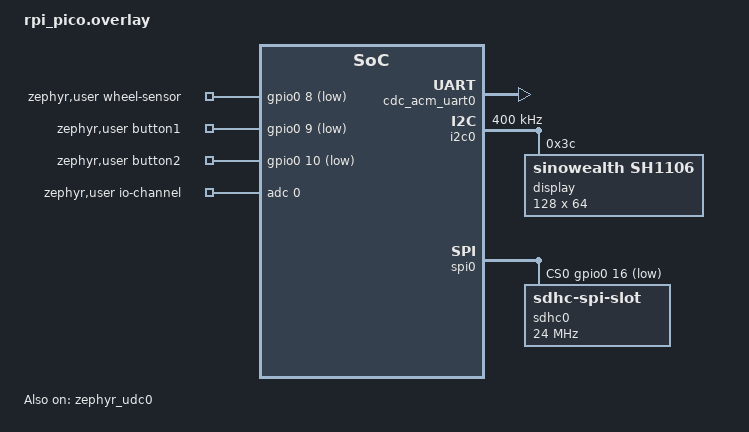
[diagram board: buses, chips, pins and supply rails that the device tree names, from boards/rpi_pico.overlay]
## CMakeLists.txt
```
cmake_minimum_required(VERSION 3.20.0)

find_package(Zephyr REQUIRED HINTS $ENV{ZEPHYR_BASE})
project(wheel_sensor)

# Include directories
target_include_directories(app PRIVATE include src)

# Main application and module sources
target_sources(app PRIVATE
    src/main.c
    src/app.c
    src/wheel_sensor.c
    src/button.c
    src/speed_calculator.c
    src/display_output.c
    src/console_output.c
    src/storage.c
)

# Battery monitoring (optional)
if(CONFIG_BATTERY_ENABLED)
    target_sources(app PRIVATE src/battery.c)
endif()

# Simulation shell (optional)
if(CONFIG_APP_SIMULATION)
    target_sources(app PRIVATE src/sim_shell.c)
endif()
```

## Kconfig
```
menu "Application Configuration"

config DISPLAY_ENABLED
	bool "Enable OLED display support (SH1106)"
	default y
	imply I2C
	imply DISPLAY
	imply SSD1306
	imply CHARACTER_FRAMEBUFFER
	help
		Enable support for SH1106 OLED display over I2C.
		When enabled, the display driver and related functionality are included.
		When disabled, all display-related code is excluded.

config SD_CARD_ENABLED
	bool "Enable SD card storage via SPI"
	default y
	imply SPI
	imply SDHC
	imply SDMMC_STACK
	imply DISK_ACCESS
	imply FILE_SYSTEM
	imply FAT_FILESYSTEM_ELM
	help
		Enable support for SD card storage over SPI.
		When enabled, the SD card driver and filesystem support are included.
		When disabled, all SD card-related code and dependencies are excluded.

config BATTERY_ENABLED
	bool "Enable battery monitoring via ADC"
	default n
	select ADC
	help
		Enable support for battery voltage monitoring via ADC.
		When enabled, the ADC driver and battery monitoring functionality are included.
		When disabled, all battery-related code and dependencies are excluded.

config APP_SIMULATION
    bool "Enable shell commands to drive simulated peripherals"
    depends on GPIO_EMUL || ADC_EMUL
    help
      Adds 'sim' shell commands to manually toggle the reed switch,
      simulate a button press, and set a fake battery voltage while
      running the app on native_sim.

endmenu

source "Kconfig.zephyr"
```

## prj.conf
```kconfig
# GPIO is required to read the reed switch / Hall sensor
CONFIG_GPIO=y

# Battery monitoring via ADC (enabled by default via Kconfig)
# ADC is implied by BATTERY_ENABLED

# Console output so we can see revolution/speed data over USB-UART
CONFIG_PRINTK=y
CONFIG_CONSOLE=y
# CONFIG_SERIAL=y

# USB CDC-ACM for console over USB
CONFIG_USB_DEVICE_STACK_NEXT=y
CONFIG_USBD_CDC_ACM_CLASS=y
CONFIG_CDC_ACM_SERIAL_INITIALIZE_AT_BOOT=y

# SPI for SD card (enabled by SD_CARD_ENABLED config)
CONFIG_EMUL=y
CONFIG_HEAP_MEM_POOL_SIZE=256

# Settings subsystem for persistent storage
CONFIG_SETTINGS=y
CONFIG_SETTINGS_RUNTIME=y
CONFIG_FLASH=y
CONFIG_FLASH_MAP=y
CONFIG_NVS=y

# Logging configuration
CONFIG_LOG=y

CONFIG_DISPLAY=y
CONFIG_I2C=y
CONFIG_SSD1306=y
```

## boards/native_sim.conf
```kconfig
CONFIG_GPIO=y
CONFIG_GPIO_EMUL=y
CONFIG_ADC_EMUL=y

# ADC is selected by CONFIG_BATTERY_ENABLED (default y)

CONFIG_CONSOLE=y
CONFIG_SHELL=y
CONFIG_SHELL_BACKEND_SERIAL=y

# Disable display support for native_sim
CONFIG_DISPLAY_ENABLED=n
CONFIG_DISPLAY=n

CONFIG_APP_SIMULATION=y
```

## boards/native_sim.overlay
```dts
/*
 * Simulation overlay mapping to the same paths as rpi_pico.overlay
 * Uses zephyr,user node with the same property names
 */
/ {
	zephyr,user {
		/* Wheel sensor - maps to reed0 in sim_inputs */
		wheel-sensor-gpios = <&gpio0 1 (GPIO_ACTIVE_LOW)>;
		/* Buttons - map to button0 in sim_inputs */
		button1-gpios = <&gpio0 0 (GPIO_ACTIVE_LOW)>;
		button2-gpios = <&gpio0 2 (GPIO_ACTIVE_LOW)>;
		/* Battery ADC channel - maps to channel@0 in adc0 */
		io-channels = <&adc0 0>;
	};
};

/* native_sim.dts already provides gpio0 as a gpio_emul controller
   and usually an adc0 as zephyr,adc-emul — check your Zephyr version's
   boards/native/native_sim/native_sim.dts. If adc0 isn't already there,
   add it yourself here instead of just configuring the channel below. */
&adc0 {
	#address-cells = <1>;
	#size-cells = <0>;

	channel@0 {
		reg = <0>;
		zephyr,gain = "ADC_GAIN_1";
		zephyr,reference = "ADC_REF_INTERNAL";
		zephyr,vref-mv = <3300>;
		zephyr,resolution = <12>;
		zephyr,acquisition-time = <ADC_ACQ_TIME_DEFAULT>;
	};
};
```

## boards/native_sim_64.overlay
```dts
/*
 * native_sim 64-bit variant overlay.
 * Keep the native simulator free of display emulation and provide the
 * same user-facing GPIO and ADC nodes the application expects.
 */
/ {
	zephyr,user {
		/* Wheel sensor - maps to reed0 in sim_inputs */
		wheel-sensor-gpios = <&gpio0 1 (GPIO_ACTIVE_LOW)>;
		/* Buttons - map to button0 in sim_inputs */
		button1-gpios = <&gpio0 0 (GPIO_ACTIVE_LOW)>;
		button2-gpios = <&gpio0 2 (GPIO_ACTIVE_LOW)>;
		/* Battery ADC channel - maps to channel@0 in adc0 */
		io-channels = <&adc0 0>;
	};

	chosen {
		/delete-property/ zephyr,display;
	};
};

&sdl_dc {
	status = "disabled";
};

&spi0 {
	sdhc0: sdhc@0 {
		compatible = "zephyr,sdhc-spi-slot";
		reg = <0>;
		status = "okay";
		spi-max-frequency = <24000000>;

		mmc {
			compatible = "zephyr,sdmmc-disk";
			disk-name = "SD";
			status = "okay";
		};
	};
};

&adc0 {
	#address-cells = <1>;
	#size-cells = <0>;

	channel@0 {
		reg = <0>;
		zephyr,gain = "ADC_GAIN_1";
		zephyr,reference = "ADC_REF_INTERNAL";
		zephyr,vref-mv = <3300>;
		zephyr,resolution = <12>;
		zephyr,acquisition-time = <ADC_ACQ_TIME_DEFAULT>;
	};
};
```

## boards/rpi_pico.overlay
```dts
/*
 * Wire the reed switch / Hall sensor to GPIO pin 16.
 * One leg of the switch/sensor goes to this pin, the other to GND.
 * GPIO_PULL_UP keeps the line high when open; the switch/sensor pulls
 * it low (ACTIVE_LOW) when the magnet passes.
 *
 * Change the pin number below to match your wiring if needed.
 */
/ {
	zephyr,user {
		wheel-sensor-gpios = <&gpio0 8 (GPIO_ACTIVE_LOW | GPIO_PULL_UP)>;
		button1-gpios = <&gpio0 9 (GPIO_ACTIVE_LOW | GPIO_PULL_UP)>;
		button2-gpios = <&gpio0 10 (GPIO_ACTIVE_LOW | GPIO_PULL_UP)>;
		/* Battery voltage monitoring via ADC0 (GPIO26) */
		io-channels = <&adc 0>;
	};

	chosen {
		zephyr,display = &display;
		zephyr,console = &cdc_acm_uart0;
	};
};

&zephyr_udc0 {
	status = "okay";

	cdc_acm_uart0: cdc_acm_uart0 {
		compatible = "zephyr,cdc-acm-uart";
		status = "okay";
	};
};

&uart0 {
	status = "disabled";
};

/* Enable I2C for SH1106 display */
&i2c0 {
	status = "okay";
	clock-frequency = <400000>;

	display: sh1106@3c {
		compatible = "sinowealth,sh1106";
		reg = <0x3c>;
		width = <128>;
		height = <64>;
		segment-offset = <0>;
		page-offset = <0>;
		display-offset = <0>;
		multiplex-ratio = <63>;
		segment-remap;
		com-invdir;
		prechargep = <0x22>;
		status = "okay";
	};
};

/* Add storage partition for NVS settings to existing flash0 partitions */
&flash0 {
	partitions {
		compatible = "fixed-partitions";
		#address-cells = <1>;
		#size-cells = <1>;

		/* Storage partition for NVS settings - 16KB at 128KB offset from flash start */
		storage_partition: partition@20000 {
			label = "storage";
			reg = <0x00020000 0x00004000>;
		};
	};
};

&spi0 {
	status = "okay";
	cs-gpios = <&gpio0 16 GPIO_ACTIVE_LOW>;

	sdhc0: sdhc@0 {
		compatible = "zephyr,sdhc-spi-slot";
		reg = <0>;
		status = "okay";

		mmc {
			compatible = "zephyr,sdmmc-disk";
			disk-name = "SD";
			status = "okay";
		};

		spi-max-frequency = <24000000>;
	};
};
```

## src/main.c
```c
/*
 * main.c - Application entry point
 *
 * Simply calls the modular application implementation.
 *
 * @implements REQ-SW-001
 */

#include <app.h>

/**
 * @brief Application main entry point
 * @implements REQ-SW-001
 * @return Application exit code
 */
int main(void)
{
	return app_run();
}
```

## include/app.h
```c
/*
 * app.h - Main application header for wheel sensor speedometer
 *
 * Defines shared data structures, constants, and constants.
 * All modules should include this header for common types.
 *
 * Module-specific interfaces are in their respective header files:
 * - wheel_sensor.h
 * - button.h
 * - battery.h
 * - speed_calculator.h
 * - display_output.h
 * - console_output.h
 * - storage.h
 */

#ifndef APP_H
#define APP_H

#include <zephyr/kernel.h>
#include <zephyr/sys/atomic.h>
#include <stdbool.h>
#include <stdint.h>

/* =========================================================================
 * CONSTANTS
 * ========================================================================= */

/* Wheel configuration limits */
#define MIN_WHEEL_DIAMETER_CM    10
#define MAX_WHEEL_DIAMETER_CM    100
#define DEFAULT_WHEEL_DIAMETER_CM 66

/* Timing constants */
#define DEBOUNCE_MS              50
#define REPORT_INTERVAL_MS       1000
#define MODE_SWITCH_DELAY_MS     500
#define BATTERY_SAMPLE_INTERVAL_S 60

/* Battery monitoring constants */
#define BATTERY_MIN_V            2.0f   /* Voltage at 0% (2x AA depleted) */
#define BATTERY_MAX_V            3.0f   /* Voltage at 100% (2x AA fresh) */
#define VOLTAGE_DIVIDER_RATIO    (3.0f / 2.0f)  /* V_battery = V_adc * (R1+R2)/R2 */

/* Buffer sizes */
#define LOG_BUFFER_SIZE          256
#define DISPLAY_LINE_SIZE        32

/* =========================================================================
 * DATA STRUCTURES
 * ========================================================================= */

/* Wheel sensor state - shared between ISR and main thread */
struct wheel_sensor_state {
	atomic_t revolution_count;
	volatile int64_t last_trigger_ms;
};

/* Button state - shared between ISR and main thread */
struct button_state {
	volatile int64_t last_press_ms[2];
	volatile bool in_settings_mode;
	volatile bool save_wheel_diameter_pending;
	int64_t previous_press_time[2];
	/* Flags for deferred printing (set in ISR, cleared in main thread) */
	volatile bool settings_mode_changed;
	volatile bool diameter_changed;
	int diameter_value;
};

/* Wheel configuration */
struct wheel_config {
	int diameter_cm;
};

/* Battery state */
struct battery_state {
	int percentage;
	bool valid;
};

/* Runtime tracking state (main thread only) */
struct runtime_state {
	uint32_t last_count;
	uint32_t total_distance_m;
	float last_speed_kmh;
};

/* =========================================================================
 * INLINE ACCESSORS
 * ========================================================================= */

/**
 * @brief Check if in settings mode
 * @param button_state Pointer to button state structure
 * @return true if in settings mode
 */
static inline bool button_in_settings_mode(const struct button_state *button_state)
{
	return button_state->in_settings_mode;
}

/**
 * @brief Check if wheel diameter needs saving
 * @param button_state Pointer to button state structure
 * @return true if pending save
 */
static inline bool button_save_pending(const struct button_state *button_state)
{
	return button_state->save_wheel_diameter_pending;
}

/**
 * @brief Clear save pending flag
 * @param button_state Pointer to button state structure
 */
static inline void button_clear_save_pending(struct button_state *button_state)
{
	button_state->save_wheel_diameter_pending = false;
}

/**
 * @brief Application entry point
 */
int app_run(void);

#endif /* APP_H */
```

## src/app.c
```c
/*
 * app.c - Main application with modular architecture
 *
 * Coordinates all modules to implement the wheel sensor speedometer.
 *
 * @implements REQ-SW-001, REQ-SW-002, REQ-SW-003, REQ-SW-004, REQ-SW-005,
 * REQ-SW-006, REQ-SW-007, REQ-SW-008
 */

#include <app.h>
#include <button.h>
#include <console_output.h>
#include <display_output.h>
#include <speed_calculator.h>
#include <storage.h>
#include <wheel_sensor.h>

#ifdef CONFIG_BATTERY_ENABLED
#include <battery.h>
#endif

#include <zephyr/kernel.h>
#include <zephyr/logging/log.h>
#include <zephyr/sys/printk.h>
#include <zephyr/sys/util.h>

LOG_MODULE_REGISTER(app);

/* Global state instances */
static struct wheel_sensor_state wheel_sensor_state = {
    .revolution_count = ATOMIC_INIT(0),
    .last_trigger_ms = 0,
};

static struct button_state button_state = {
    .last_press_ms = {0, 0},
    .in_settings_mode = false,
    .save_wheel_diameter_pending = false,
    .previous_press_time = {0, 0},
    .settings_mode_changed = false,
    .diameter_changed = false,
    .diameter_value = DEFAULT_WHEEL_DIAMETER_CM,
};

static struct wheel_config wheel_config = {
    .diameter_cm = DEFAULT_WHEEL_DIAMETER_CM,
};

static struct runtime_state runtime_state = {
    .last_count = 0U,
    .total_distance_m = 0U,
    .last_speed_kmh = 0.0f,
};

#ifdef CONFIG_BATTERY_ENABLED
static struct battery_state battery_state = {
    .percentage = -1,

    .valid = false,
};
#endif

static void app_state_work_handler(struct k_work *work);

K_WORK_DEFINE(app_state_work, app_state_work_handler);

/**
 * @brief Work handler for deferred state updates
 * @implements REQ-SW-003, REQ-SW-601
 * @param work Work item (unused)
 */
static void app_state_work_handler(struct k_work *work) {
  ARG_UNUSED(work);

  if (button_save_pending(&button_state)) {
    button_clear_save_pending(&button_state);
    storage_save_wheel_diameter(&wheel_config);
  }

  if (display_is_available()) {
#ifdef CONFIG_BATTERY_ENABLED
    display_render(&button_state, &wheel_config, &runtime_state,
                   &battery_state);
#else
    display_render(&button_state, &wheel_config, &runtime_state, NULL);
#endif
  }
}

/**
 * @brief Queue deferred state update
 * @implements REQ-SW-601
 */
static void queue_app_state_update(void) { k_work_submit(&app_state_work); }

/**
 * @brief Main application entry point
 * @implements REQ-SW-001, REQ-SW-002, REQ-SW-003, REQ-SW-004, REQ-SW-005,
 * REQ-SW-006, REQ-SW-007, REQ-SW-008
 * @return Application exit code
 */
int app_run(void) {
  int ret;

  /* Initialize storage/NVS first so settings can be loaded */
  ret = storage_init(&wheel_config);
  if (ret < 0) {
    LOG_ERR("Storage initialization failed: %d", -ret);
    return ret;
  }

  console_print_init(wheel_config.diameter_cm);

  /* Initialize display */
  ret = display_init();
  if (ret < 0) {
    LOG_WRN("Display initialization failed: %d, continuing without display",
            -ret);
  } else {
    queue_app_state_update();
  }

  /* Initialize SD card for logging */
  ret = storage_sd_init();
  if (ret < 0) {
    LOG_WRN("SD card initialization failed: %d, continuing without SD card",
            -ret);
  } else {
    ret = storage_log_open();
    if (ret < 0) {
      LOG_WRN("Failed to open log file: %d, continuing without SD card logging",
              -ret);
    } else {
      LOG_INF("SD card logging initialized");
    }
  }

#ifdef CONFIG_BATTERY_ENABLED
  /* Initialize battery monitoring */
  ret = battery_init();
  if (ret < 0) {
    LOG_ERR("Battery initialization failed: %d", -ret);
    return ret;
  }
#endif

  /* Initialize wheel sensor */
  ret = wheel_sensor_init(&wheel_sensor_state);
  if (ret < 0) {
    LOG_ERR("Wheel sensor initialization failed: %d", -ret);
    return ret;
  }

  /* Initialize buttons and wheel config */
  ret = button_init(&button_state, &wheel_config);
  if (ret < 0) {
    LOG_WRN("Button initialization failed: %d, continuing without buttons",
            -ret);
  }

  LOG_INF("Ready to spin!");

#ifdef CONFIG_BATTERY_ENABLED
  uint32_t battery_sample_counter = 0;
#endif

  while (1) {
    k_msleep(REPORT_INTERVAL_MS);

#ifdef CONFIG_BATTERY_ENABLED
    /* Sample battery voltage periodically */
    battery_sample_counter++;
    if (battery_sample_counter >= BATTERY_SAMPLE_INTERVAL_S) {
      int battery_ret = battery_read(&battery_state);
      if (battery_ret < 0) {
        LOG_ERR("Battery read failed: %d", battery_ret);
      } else {
        console_print_battery(battery_state.percentage);
      }
      battery_sample_counter = 0;
    }
#endif

    /* Handle deferred button press messages (from ISR) */
    if (button_state.settings_mode_changed) {
      button_state.settings_mode_changed = false;
      if (button_state.in_settings_mode) {
        LOG_INF("Entering settings mode. Current diameter: %d cm",
                button_state.diameter_value);
      } else {
        LOG_INF("Exiting settings mode. Wheel diameter set to: %d cm",
                button_state.diameter_value);
      }
    }
    if (button_state.diameter_changed) {
      button_state.diameter_changed = false;
      LOG_INF("Wheel diameter: %d cm", button_state.diameter_value);
    }

    /* If in settings mode, skip speed calculation but still update display */
    if (button_in_settings_mode(&button_state)) {
      queue_app_state_update();
      continue;
    }

    /* Get current revolution count */
    uint32_t current_count = wheel_sensor_get_count(&wheel_sensor_state);

    /* Calculate speed and distance */
    speed_calculator_update(current_count, runtime_state.last_count,
                            wheel_config.diameter_cm, REPORT_INTERVAL_MS,
                            &runtime_state.total_distance_m,
                            &runtime_state.last_speed_kmh);
    runtime_state.last_count = current_count;

    /* Print status to console */
    console_print_status(current_count, runtime_state.last_speed_kmh,
                         runtime_state.total_distance_m,
                         wheel_config.diameter_cm);

    /* Log to SD card if available */
    if (storage_log_available()) {
      char log_msg[LOG_BUFFER_SIZE];
      snprintk(
          log_msg, sizeof(log_msg),
          "[%lld] revs=%u, speed=%.1f km/h, distance=%u m, diameter=%d cm\n",
          k_uptime_get(), current_count, (double)runtime_state.last_speed_kmh,
          runtime_state.total_distance_m, wheel_config.diameter_cm);
      storage_log_write(log_msg);
    }

    queue_app_state_update();
  }

  return 0;
}
```

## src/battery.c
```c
/*
 * battery.c - Battery monitoring module
 *
 * Handles ADC-based battery voltage monitoring and percentage calculation.
 *
 * @implements REQ-HW-040, REQ-HW-041, REQ-HW-042, REQ-SW-401, REQ-SW-402, REQ-SW-403, REQ-SW-404, REQ-SW-405, REQ-SW-406, REQ-SW-407, REQ-SW-408, REQ-SW-409, REQ-SW-410
 * @tests tests/battery/src/test_battery.c
 */

#include <battery.h>
#include <zephyr/kernel.h>
#include <zephyr/drivers/adc.h>
#include <zephyr/logging/log.h>

LOG_MODULE_REGISTER(battery);

/* Devicetree configuration */
#define USER_NODE DT_PATH(zephyr_user)
static const struct adc_dt_spec battery_adc =
	ADC_DT_SPEC_GET_BY_IDX(USER_NODE, 0);

/**
 * @brief Initialize battery ADC
 * @implements REQ-SW-401
 * @return 0 on success, negative errno on failure
 */
int battery_init(void)
{
	if (!device_is_ready(battery_adc.dev)) {
		return -ENODEV;
	}
	return 0;
}

/**
 * @brief Read battery voltage and update state
 *
 * Battery must be already initialized via a successful call to
 * battery_init() prior to calling this function.
 *
 * @implements REQ-SW-401, REQ-SW-402, REQ-SW-410
 * @param battery_state Pointer to battery state structure to update
 * @return 0 on success, negative errno on failure
 */
int battery_read(struct battery_state *battery_state)
{
	int16_t adc_value;
	struct adc_sequence sequence = {
		.channels = BIT(battery_adc.channel_id),
		.buffer = &adc_value,
		.buffer_size = sizeof(adc_value),
		.resolution = 12,
	};

	int ret = adc_read(battery_adc.dev, &sequence);
	if (ret < 0) {
		LOG_ERR("Battery ADC read error: %d", ret);
		return ret;
	}

	float battery_voltage = battery_adc_to_voltage(adc_value);
	int percentage = battery_voltage_to_percentage(battery_voltage);

	battery_state->percentage = percentage;
	battery_state->valid = true;

	return 0;
}

/**
 * @brief Convert ADC value to battery voltage
 * @implements REQ-SW-403, REQ-SW-404, REQ-SW-405
 * @param adc_value Raw ADC value (12-bit)
 * @return Battery voltage in volts
 */
float battery_adc_to_voltage(int16_t adc_value)
{
	/* Convert ADC value to voltage (12-bit ADC, 3.3V reference)
	 * NOTE: The 3.3V reference is hardcoded. The actual RP2040 ADC reference
	 * can vary by +/- 1-2% which will cause a systematic offset in battery
	 * voltage readings. For more accurate readings, consider reading the
	 * actual Vref from ADC calibration data. */
	float adc_voltage = (adc_value * 3.3f) / 4095.0f;

	/* Apply voltage divider ratio: V_battery = V_adc * (R1+R2)/R2 */
	return adc_voltage * VOLTAGE_DIVIDER_RATIO;
}

/**
 * @brief Convert battery voltage to percentage
 * @implements REQ-SW-406, REQ-SW-407, REQ-SW-408, REQ-SW-409
 * @param voltage Battery voltage in volts
 * @return Percentage (0-100)
 */
int battery_voltage_to_percentage(float voltage)
{
	/* Linear approximation for alkaline 2xAA */
	int percentage = (int)((voltage - BATTERY_MIN_V) /
			(BATTERY_MAX_V - BATTERY_MIN_V) * 100.0f);
	return CLAMP(percentage, 0, 100);
}
```

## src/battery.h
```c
/*
 * battery.h - Battery monitoring module interface
 *
 * Handles ADC-based battery voltage monitoring and percentage calculation.
 */

#ifndef BATTERY_H
#define BATTERY_H

#include "app.h"
#include <zephyr/device.h>
#include <zephyr/devicetree.h>
#include <zephyr/drivers/adc.h>
#include <stdbool.h>

/**
 * @brief Initialize battery ADC
 * @return 0 on success, negative errno on failure
 */
__must_check int battery_init(void);

/**
 * @brief Read battery voltage and update state
 * @param battery_state Pointer to battery state structure to update
 * @return 0 on success, negative errno on failure
 */
__must_check int battery_read(struct battery_state *battery_state);

/**
 * @brief Convert ADC value to battery voltage
 * @param adc_value Raw ADC value (12-bit)
 * @return Battery voltage in volts
 */
float battery_adc_to_voltage(int16_t adc_value);

/**
 * @brief Convert battery voltage to percentage
 * @param voltage Battery voltage in volts
 * @return Percentage (0-100)
 */
int battery_voltage_to_percentage(float voltage);

#endif /* BATTERY_H */
```

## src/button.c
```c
/*
 * button.c - Button input module
 *
 * Handles button input with debouncing and settings mode management.
 * Button 1: Double-press toggles settings mode, single press increments diameter
 * Button 2: Single press decrements diameter in settings mode
 *
 * @implements REQ-HW-020, REQ-HW-021, REQ-HW-022, REQ-HW-023, REQ-SW-301,
 *             REQ-SW-302, REQ-SW-303, REQ-SW-304, REQ-SW-305, REQ-SW-306,
 *             REQ-SW-307, REQ-SW-308, REQ-SW-309, REQ-SW-310, REQ-SW-311
 */

#include <button.h>
#include <app.h>
#include <zephyr/kernel.h>
#include <zephyr/drivers/gpio.h>
#include <zephyr/sys/printk.h>
#include <zephyr/sys/util.h>
#include <zephyr/sys/check.h>

/* Devicetree configuration */
#define USER_NODE DT_PATH(zephyr_user)
static const struct gpio_dt_spec button1 =
	GPIO_DT_SPEC_GET(USER_NODE, button1_gpios);
static const struct gpio_dt_spec button2 =
	GPIO_DT_SPEC_GET(USER_NODE, button2_gpios);

static struct button_state *button_state_ptr = NULL;
static struct wheel_config *wheel_config_ptr = NULL;

/* Button callback data structure with user data */
struct button_cb_data {
	struct gpio_callback callback;
	int button_idx;
};
static struct button_cb_data button_cb_data[2];

/* Internal processing function */
/**
 * @brief Internal processing function for button presses
 * @implements REQ-SW-301, REQ-SW-302, REQ-SW-303, REQ-SW-304, REQ-SW-305, REQ-SW-306, REQ-SW-307, REQ-SW-308, REQ-SW-309, REQ-SW-310, REQ-SW-311
 * @param button_idx Button index (0 for button1, 1 for button2)
 */
static void process_button_press(int button_idx)
{
	/* Use __ASSERT_NO_MSG for NULL checks in ISR context */
	__ASSERT_NO_MSG(button_state_ptr != NULL);
	__ASSERT_NO_MSG(wheel_config_ptr != NULL);

	int64_t now = k_uptime_get();

	/* Debounce check */
	if ((now - button_state_ptr->last_press_ms[button_idx]) < DEBOUNCE_MS) {
		return;
	}
	button_state_ptr->last_press_ms[button_idx] = now;

	if (button_idx == 0) {
		/* Button 1: double press toggles settings mode; single press increments diameter */
		if ((now - button_state_ptr->previous_press_time[button_idx]) < MODE_SWITCH_DELAY_MS) {
			button_state_ptr->in_settings_mode = !button_state_ptr->in_settings_mode;
			button_state_ptr->settings_mode_changed = true;
			button_state_ptr->diameter_value = wheel_config_ptr->diameter_cm;
			if (!button_state_ptr->in_settings_mode) {
				button_state_ptr->save_wheel_diameter_pending = true;
			}
		} else {
			if (button_state_ptr->in_settings_mode) {
				wheel_config_ptr->diameter_cm =
					MIN(wheel_config_ptr->diameter_cm + 1, MAX_WHEEL_DIAMETER_CM);
				button_state_ptr->diameter_changed = true;
				button_state_ptr->diameter_value = wheel_config_ptr->diameter_cm;
			}
		}
		button_state_ptr->previous_press_time[button_idx] = now;
	} else {
		/* Button 2: single press decrements diameter in settings mode */
		if (button_state_ptr->in_settings_mode) {
			wheel_config_ptr->diameter_cm =
				MAX(wheel_config_ptr->diameter_cm - 1, MIN_WHEEL_DIAMETER_CM);
			button_state_ptr->diameter_changed = true;
			button_state_ptr->diameter_value = wheel_config_ptr->diameter_cm;
		}
	}
}

/**
 * @brief Unified callback for all buttons
 * @implements REQ-SW-301, REQ-SW-302
 * @param dev Device pointer (unused)
 * @param cb Callback pointer
 * @param pins Triggered pins (unused)
 */
/* Unified callback for all buttons */
static void button_pressed(const struct device *dev, struct gpio_callback *cb, uint32_t pins)
{
	ARG_UNUSED(dev);
	ARG_UNUSED(pins);
	struct button_cb_data *data = CONTAINER_OF(cb, struct button_cb_data, callback);
	process_button_press(data->button_idx);
}

/**
 * @brief Initialize button GPIOs and interrupts
 * @implements REQ-SW-301, REQ-SW-302, REQ-SW-303
 * @param button_state Pointer to button state structure
 * @param wheel_config Wheel configuration structure
 * @return 0 on success, negative errno on failure
 */
int button_init(struct button_state *button_state, struct wheel_config *wheel_config)
{
	int ret;

	button_state_ptr = button_state;

	/* Initialize button state */
	button_state->last_press_ms[0] = 0;
	button_state->last_press_ms[1] = 0;
	button_state->in_settings_mode = false;
	button_state->save_wheel_diameter_pending = false;
	button_state->previous_press_time[0] = 0;
	button_state->previous_press_time[1] = 0;

	/* Initialize wheen config before adding callbacks */
	wheel_config_ptr = wheel_config;

	if (!device_is_ready(button1.port) || !device_is_ready(button2.port)) {
		return -ENODEV;
	}

	/* Configure button 1 */
	ret = gpio_pin_configure_dt(&button1, GPIO_INPUT);
	if (ret != 0) {
		return ret;
	}

	ret = gpio_pin_interrupt_configure_dt(&button1, GPIO_INT_EDGE_TO_ACTIVE);
	if (ret != 0) {
		return ret;
	}

	button_cb_data[0].button_idx = 0;
	gpio_init_callback(&button_cb_data[0].callback, button_pressed, BIT(button1.pin));
	gpio_add_callback(button1.port, &button_cb_data[0].callback);

	/* Configure button 2 */
	ret = gpio_pin_configure_dt(&button2, GPIO_INPUT);
	if (ret != 0) {
		return ret;
	}

	ret = gpio_pin_interrupt_configure_dt(&button2, GPIO_INT_EDGE_TO_ACTIVE);
	if (ret != 0) {
		return ret;
	}

	button_cb_data[1].button_idx = 1;
	gpio_init_callback(&button_cb_data[1].callback, button_pressed, BIT(button2.pin));
	gpio_add_callback(button2.port, &button_cb_data[1].callback);

	return 0;
}
```

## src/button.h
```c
/*
 * button.h - Button input module interface
 *
 * Handles button input with debouncing and settings mode management.
 */

#ifndef BUTTON_H
#define BUTTON_H

#include <app.h>
#include <zephyr/device.h>
#include <zephyr/devicetree.h>
#include <zephyr/drivers/gpio.h>

/**
 * @brief Initialize button GPIOs and interrupts
 * @param button_state Pointer to button state structure
 * @param wheel_config Wheel configuration structure
 * @return 0 on success, negative errno on failure
 */
int button_init(struct button_state *button_state, struct wheel_config *wheel_config);

/**
 * @brief Get button count
 * @return Number of buttons (currently 2)
 */
static inline int button_count(void)
{
	return 2;
}

#endif /* BUTTON_H */
```

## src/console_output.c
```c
/*
 * console_output.c - Console output module
 *
 * Handles all console/printk output for the application.
 *
 * @implements REQ-SW-701, REQ-SW-702, REQ-SW-703, REQ-SW-704, REQ-SW-705,
 * REQ-SW-706, REQ-SW-707, REQ-SW-708
 */

#include <console_output.h>
#include <zephyr/logging/log.h>
#include <zephyr/sys/printk.h>

LOG_MODULE_REGISTER(app_console);

/**
 * @brief Print status information to console
 * @implements REQ-SW-701, REQ-SW-702
 * @param current_count Current revolution count
 * @param speed_kmh Current speed in km/h
 * @param total_distance_m Total distance in meters
 * @param wheel_diameter_cm Wheel diameter in centimeters
 */
void console_print_status(uint32_t current_count, float speed_kmh,
                          uint32_t total_distance_m, int wheel_diameter_cm) {
  unsigned int speed_frac =
      (unsigned int)((speed_kmh - (int)speed_kmh) * 10.0f);
  if (speed_frac > 9U) {
    speed_frac = 9U;
  }

  LOG_DBG("revs=%u  speed=%d.%01u km/h  distance=%u m  diameter=%d cm",
          current_count, (int)speed_kmh, speed_frac, total_distance_m,
          wheel_diameter_cm);
}

/**
 * @brief Print settings mode information to console
 * @implements REQ-SW-706
 * @param in_settings_mode True if entering settings mode, false if exiting
 * @param diameter_cm Current wheel diameter in centimeters
 */
void console_print_settings_mode(bool in_settings_mode, int diameter_cm) {
  if (in_settings_mode) {
    LOG_INF("Entering settings mode. Current diameter: %d cm", diameter_cm);
  } else {
    LOG_INF("Exiting settings mode. Wheel diameter set to: %d cm", diameter_cm);
  }
}

/**
 * @brief Print wheel diameter change to console
 * @implements REQ-SW-707
 * @param diameter_cm Current wheel diameter in centimeters
 */
void console_print_diameter(int diameter_cm) {
  LOG_INF("Wheel diameter: %d cm", diameter_cm);
}

/**
 * @brief Print battery status to console
 * @implements REQ-SW-708
 * @param percentage Battery percentage
 */
void console_print_battery(int percentage) {
  LOG_INF("Battery: %d%%", percentage);
}

/**
 * @brief Print initialization message to console
 * @implements REQ-SW-705
 * @param diameter_cm Current wheel diameter in centimeters
 */
void console_print_init(int diameter_cm) {
  /* Ensure USB CDC ACM console is ready before printing */
  while (!device_is_ready(DEVICE_DT_GET(DT_CHOSEN(zephyr_console)))) {
    k_sleep(K_MSEC(100));
  }
  /* Wait for OS USB CDC-ACM */
  k_sleep(K_MSEC(2000));

  LOG_INF("Wheel diameter: %d cm", diameter_cm);
  LOG_INF("Wheel sensor ready, waiting for revolutions...");
  LOG_INF("Press button 1 twice quickly to enter settings mode");
}
```

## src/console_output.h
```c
/*
 * console_output.h - Console output module interface
 *
 * Handles all console/printk output for the application.
 */

#ifndef CONSOLE_OUTPUT_H
#define CONSOLE_OUTPUT_H

#include <stdint.h>
#include <stdbool.h>

/**
 * @brief Print status to console
 * @param current_count Current revolution count
 * @param speed_kmh Current speed in km/h
 * @param total_distance_m Total distance in meters
 * @param wheel_diameter_cm Wheel diameter in centimeters
 */
void console_print_status(uint32_t current_count, float speed_kmh,
		uint32_t total_distance_m, int wheel_diameter_cm);

/**
 * @brief Print settings mode status
 * @param in_settings_mode true if entering settings mode
 * @param diameter_cm Current wheel diameter
 */
void console_print_settings_mode(bool in_settings_mode, int diameter_cm);

/**
 * @brief Print wheel diameter update
 * @param diameter_cm New wheel diameter
 */
void console_print_diameter(int diameter_cm);

/**
 * @brief Print battery status
 * @param percentage Battery percentage
 */
void console_print_battery(int percentage);

/**
 * @brief Print initialization message
 * @param diameter_cm Wheel diameter
 */
void console_print_init(int diameter_cm);

#endif /* CONSOLE_OUTPUT_H */
```

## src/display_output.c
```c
/*
 * display_output.c - Display output module
 *
 * Handles rendering of application state to the OLED display (SH1106).
 *
 * @implements REQ-HW-030, REQ-HW-031, REQ-SW-501, REQ-SW-502, REQ-SW-503,
 * REQ-SW-504, REQ-SW-505, REQ-SW-506, REQ-SW-507, REQ-SW-508, REQ-SW-509
 * @tests tests/display/src/test_display.c
 */

#include <display_output.h>
#include <zephyr/device.h>
#include <zephyr/devicetree.h>
#include <zephyr/display/cfb.h>
#include <zephyr/logging/log.h>
#include <zephyr/sys/printk.h>

LOG_MODULE_REGISTER(display);

#if IS_ENABLED(CONFIG_DISPLAY) && IS_ENABLED(CONFIG_CHARACTER_FRAMEBUFFER) &&  \
    DT_HAS_CHOSEN(zephyr_display)

static const struct device *display_dev;
static uint8_t display_font_height;
static bool display_initialized = false;

/**
 * @brief Initialize display
 * @implements REQ-SW-508, REQ-SW-509
 * @return 0 on success, negative errno on failure
 */
int display_init(void) {
  int ret;
  uint8_t font_width;

  display_dev = DEVICE_DT_GET_OR_NULL(DT_CHOSEN(zephyr_display));
  if (NULL == display_dev || !device_is_ready(display_dev)) {
    LOG_WRN("Display device not ready");
    return -ENODEV;
  }

  ret = display_set_pixel_format(display_dev, PIXEL_FORMAT_MONO10);
  if (ret < 0) {
    ret = display_set_pixel_format(display_dev, PIXEL_FORMAT_MONO01);
  }
  if (ret < 0) {
    LOG_WRN("Display does not support mono pixel formats: %d", ret);
    return ret;
  }

  ret = cfb_framebuffer_init(display_dev);
  if (ret < 0) {
    LOG_WRN("Failed to initialize display framebuffer: %d", ret);
    return ret;
  }

  ret = cfb_framebuffer_set_font(display_dev, 0);
  if (ret < 0) {
    LOG_WRN("Failed to select default display font: %d", ret);
    return ret;
  }

  ret = cfb_get_font_size(display_dev, 0, &font_width, &display_font_height);
  if (ret < 0 || display_font_height == 0U) {
    display_font_height = 8U;
  }

  ret = display_blanking_off(display_dev);
  if (ret < 0 && ret != -ENOSYS) {
    LOG_WRN("Failed to unblank display: %d", ret);
  }

  display_initialized = true;
  return 0;
}

static void display_print_lines(const char *line1, const char *line2,
                                const char *line3, const char *line4) {
  int y = 0;

  if (display_dev == NULL || !display_initialized) {
    return;
  }

  cfb_framebuffer_clear(display_dev, false);

  if (line1 != NULL) {
    cfb_print(display_dev, line1, 0, y);
  }
  y += display_font_height;

  if (line2 != NULL) {
    cfb_print(display_dev, line2, 0, y);
  }
  y += display_font_height;

  if (line3 != NULL) {
    cfb_print(display_dev, line3, 0, y);
  }
  y += display_font_height;

  if (line4 != NULL) {
    cfb_print(display_dev, line4, 0, y);
  }

  cfb_framebuffer_finalize(display_dev);
}

/**
 * @brief Render application state to display
 * @implements REQ-SW-501, REQ-SW-502, REQ-SW-503, REQ-SW-504, REQ-SW-505,
 * REQ-SW-506, REQ-SW-507
 * @param button_state Pointer to button state
 * @param wheel_config Pointer to wheel configuration
 * @param runtime_state Pointer to runtime state
 * @param battery_state Pointer to battery state
 */
void display_render(const struct button_state *button_state,
                    const struct wheel_config *wheel_config,
                    const struct runtime_state *runtime_state,
                    const struct battery_state *battery_state) {
  char line1[DISPLAY_LINE_SIZE];
  char line2[DISPLAY_LINE_SIZE];
  char line3[DISPLAY_LINE_SIZE];
  char line4[DISPLAY_LINE_SIZE];
  int speed_whole;
  unsigned int speed_frac;

  if (!display_initialized || display_dev == NULL) {
    return;
  }

  if (button_state->in_settings_mode) {
    snprintk(line1, sizeof(line1), "Settings mode");
    snprintk(line2, sizeof(line2), "Wheel: %d cm", wheel_config->diameter_cm);
    snprintk(line3, sizeof(line3), "Btn1 +1  Btn2 -1");
    snprintk(line4, sizeof(line4), "Double press B1 to exit");
  } else {
    speed_whole = (int)runtime_state->last_speed_kmh;
    speed_frac =
        (unsigned int)((runtime_state->last_speed_kmh - speed_whole) * 10.0f);
    if (speed_frac > 9U) {
      speed_frac = 9U;
    }

    snprintk(line1, sizeof(line1), "Speed: %d.%01u km/h", speed_whole,
             speed_frac);
    snprintk(line2, sizeof(line2), "Distance: %u m",
             runtime_state->total_distance_m);
    snprintk(line3, sizeof(line3), "Wheel: %d cm", wheel_config->diameter_cm);
    if (battery_state != NULL && battery_state->valid) {
      snprintk(line4, sizeof(line4), "Battery: %d%%",
               battery_state->percentage);
    } else {
      snprintk(line4, sizeof(line4), "Battery: n/a");
    }
  }

  display_print_lines(line1, line2, line3, line4);
}

/**
 * @brief Check if display is available
 * @implements REQ-SW-509
 * @return true if display is available, false otherwise
 */
bool display_is_available(void) {
  return display_initialized && (display_dev != NULL);
}

uint8_t display_get_font_height(void) { return display_font_height; }

#else

int display_init(void) { return 0; }

void display_render(const struct button_state *button_state,
                    const struct wheel_config *wheel_config,
                    const struct runtime_state *runtime_state,
                    const struct battery_state *battery_state) {
  /* Display not enabled */
}

bool display_is_available(void) { return false; }

uint8_t display_get_font_height(void) { return 8; }

#endif /* IS_ENABLED(CONFIG_DISPLAY) && ... */
```

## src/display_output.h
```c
/*
 * display_output.h - Display output module interface
 *
 * Handles rendering of application state to the OLED display.
 */

#ifndef DISPLAY_OUTPUT_H
#define DISPLAY_OUTPUT_H

#include <app.h>
#include <stdbool.h>
#include <stdint.h>

/**
 * @brief Initialize display
 * @return 0 on success, negative errno on failure
 */
int display_init(void);

/**
 * @brief Render current status to display
 * @param button_state Pointer to button state
 * @param wheel_config Pointer to wheel configuration
 * @param runtime_state Pointer to runtime state
 * @param battery_state Pointer to battery state
 */
void display_render(const struct button_state *button_state,
		const struct wheel_config *wheel_config,
		const struct runtime_state *runtime_state,
		const struct battery_state *battery_state);

/**
 * @brief Check if display is available
 * @return true if display is initialized and ready
 */
bool display_is_available(void);

/**
 * @brief Get display font height
 * @return Font height in pixels
 */
uint8_t display_get_font_height(void);

#endif /* DISPLAY_OUTPUT_H */
```

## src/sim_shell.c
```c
#include <zephyr/kernel.h>
#include <zephyr/shell/shell.h>
#include <zephyr/drivers/gpio.h>
#include <zephyr/drivers/gpio/gpio_emul.h>
#include <stdlib.h>

/*
 * sim_shell.c - Simulation shell commands for testing
 *
 * Provides shell commands to simulate hardware inputs for testing without physical hardware.
 *
 * @implements REQ-SW-801, REQ-SW-802, REQ-SW-803, REQ-SW-804, REQ-SW-805, REQ-SW-806
 */

/* Use the same paths as rpi_pico.overlay */
static const struct gpio_dt_spec reed   = GPIO_DT_SPEC_GET(DT_PATH(zephyr_user), wheel_sensor_gpios);
static const struct gpio_dt_spec button1 = GPIO_DT_SPEC_GET(DT_PATH(zephyr_user), button1_gpios);
static const struct gpio_dt_spec button2 = GPIO_DT_SPEC_GET(DT_PATH(zephyr_user), button2_gpios);

#ifdef CONFIG_BATTERY_ENABLED
#include <zephyr/drivers/adc.h>
#include <zephyr/drivers/adc/adc_emul.h>
static const struct adc_dt_spec battery_adc = ADC_DT_SPEC_GET_BY_IDX(DT_PATH(zephyr_user), 0);
#endif

/**
 * @brief Toggle reed switch simulation
 * @implements REQ-SW-802
 */
static int cmd_reed_toggle(const struct shell *sh, size_t argc, char **argv)
{
    static bool state;
    state = !state;
    gpio_emul_input_set(reed.port, reed.pin, state);
    shell_print(sh, "reed switch -> %d", state);
    return 0;
}

/**
 * @brief Simulate multiple wheel revolutions
 * @implements REQ-SW-803
 */
/* simulate N wheel revolutions at a given interval, e.g. `sim wheel 10 500` */
static int cmd_wheel(const struct shell *sh, size_t argc, char **argv)
{
    int revs = (argc > 1) ? atoi(argv[1]) : 10;
    int interval_ms = (argc > 2) ? atoi(argv[2]) : 500;

    for (int i = 0; i < revs; i++) {
        gpio_emul_input_set(reed.port, reed.pin, 1);
        k_msleep(20);
        gpio_emul_input_set(reed.port, reed.pin, 0);
        k_msleep(interval_ms);
    }
    shell_print(sh, "simulated %d wheel revolutions", revs);
    return 0;
}

/**
 * @brief Simulate button 1 press
 * @implements REQ-SW-804
 */
static int cmd_button1_press(const struct shell *sh, size_t argc, char **argv)
{
    gpio_emul_input_set(button1.port, button1.pin, 1);
    k_msleep(50);
    gpio_emul_input_set(button1.port, button1.pin, 0);
    shell_print(sh, "button 1 pressed");
    return 0;
}

/**
 * @brief Simulate button 2 press
 * @implements REQ-SW-804
 */
static int cmd_button2_press(const struct shell *sh, size_t argc, char **argv)
{
    gpio_emul_input_set(button2.port, button2.pin, 1);
    k_msleep(50);
    gpio_emul_input_set(button2.port, button2.pin, 0);
    shell_print(sh, "button 2 pressed");
    return 0;
}

#ifdef CONFIG_BATTERY_ENABLED
/**
 * @brief Set battery voltage for simulation
 * @implements REQ-SW-805
 */
static int cmd_battery_set(const struct shell *sh, size_t argc, char **argv)
{
    if (argc < 2) {
        shell_error(sh, "usage: sim battery <millivolts>");
        return -EINVAL;
    }
    /* check adc_emul.h in your Zephyr version — units/signature
       have changed across releases (mV vs raw counts) */
    adc_emul_const_value_set(battery_adc.dev, battery_adc.channel_id, atoi(argv[1]));
    shell_print(sh, "battery set to %s mV", argv[1]);
    return 0;
}
#endif

/**
 * @brief Register simulation commands
 * @implements REQ-SW-801, REQ-SW-806
 */
SHELL_STATIC_SUBCMD_SET_CREATE(sim_cmds,
    SHELL_CMD(reed, NULL, "Toggle reed switch once", cmd_reed_toggle),
    SHELL_CMD(wheel, NULL, "Simulate wheel revs [count] [ms]", cmd_wheel),
    SHELL_CMD(button1, NULL, "Simulate button 1 press", cmd_button1_press),
    SHELL_CMD(button2, NULL, "Simulate button 2 press", cmd_button2_press),
#ifdef CONFIG_BATTERY_ENABLED
    SHELL_CMD(battery, NULL, "Set battery mV", cmd_battery_set),
#endif
    SHELL_SUBCMD_SET_END
);
SHELL_CMD_REGISTER(sim, &sim_cmds, "Simulation controls", NULL);
```

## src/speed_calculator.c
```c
/*
 * speed_calculator.c - Speed and distance calculation module
 *
 * Handles all speed and distance calculations based on wheel revolutions.
 *
 * @implements REQ-SW-201, REQ-SW-202, REQ-SW-203, REQ-SW-204, REQ-SW-205, REQ-SW-206, REQ-SW-207, REQ-SW-208
 * @tests tests/speed_calculator/src/test_speed_calculator.c
 */

#include <speed_calculator.h>
#include <math.h>

#ifndef M_PI
#define M_PI 3.1415926535f
#endif

/**
 * @brief Calculate wheel circumference in meters
 * @implements REQ-SW-201
 * @param diameter_cm Wheel diameter in centimeters
 * @return Circumference in meters
 */
float speed_calculator_circumference_m(int diameter_cm)
{
	/* Circumference = PI * diameter (convert cm to m) */
	return M_PI * (diameter_cm / 100.0f);
}

/**
 * @brief Calculate distance traveled from revolutions
 * @implements REQ-SW-202
 * @param count Number of revolutions
 * @param circumference_m Wheel circumference in meters
 * @return Distance in meters
 */
float speed_calculator_distance_m(uint32_t count, float circumference_m)
{
	return count * circumference_m;
}

/**
 * @brief Calculate speed from distance and time
 * @implements REQ-SW-203, REQ-SW-206
 * @param distance_m Distance in meters
 * @param time_s Time in seconds
 * @return Speed in km/h
 */
float speed_calculator_speed_kmh(float distance_m, float time_s)
{
	/* speed (km/h) = distance (m) / time (s) * 3.6 */
	if (time_s <= 0.0f) {
		return 0.0f;
	}
	return (distance_m / time_s) * 3.6f;
}

/**
 * @brief Calculate speed and distance from wheel revolutions
 * @implements REQ-SW-204, REQ-SW-205, REQ-SW-207, REQ-SW-208
 * @param current_count Current revolution count
 * @param last_count Previous revolution count
 * @param wheel_diameter_cm Wheel diameter in centimeters
 * @param interval_ms Time interval in milliseconds
 * @param total_distance_m Pointer to total distance in meters (in/out)
 * @param speed_kmh Pointer to speed in km/h (out)
 */
void speed_calculator_update(uint32_t current_count, uint32_t last_count,
		int wheel_diameter_cm, uint32_t interval_ms,
		uint32_t *total_distance_m, float *speed_kmh)
{
	uint32_t delta = current_count - last_count;
	float circumference_m = speed_calculator_circumference_m(wheel_diameter_cm);

	/* Distance traveled this period */
	float distance_this_period_m = delta * circumference_m;

	/* Total distance
	 * FIXME: Using float for intermediate calculation loses precision for large
	 * counts (> 2^24 ~16.7M revolutions). For a 66cm wheel, this corresponds to
	 * ~52km of travel. Consider using uint64_t for intermediate if higher precision
	 * is needed for long-distance tracking. */
	*total_distance_m = (uint32_t)(current_count * circumference_m);

	/* Speed: distance / time * 3.6 */
	float time_s = interval_ms / 1000.0f;
	*speed_kmh = speed_calculator_speed_kmh(distance_this_period_m, time_s);
}
```
